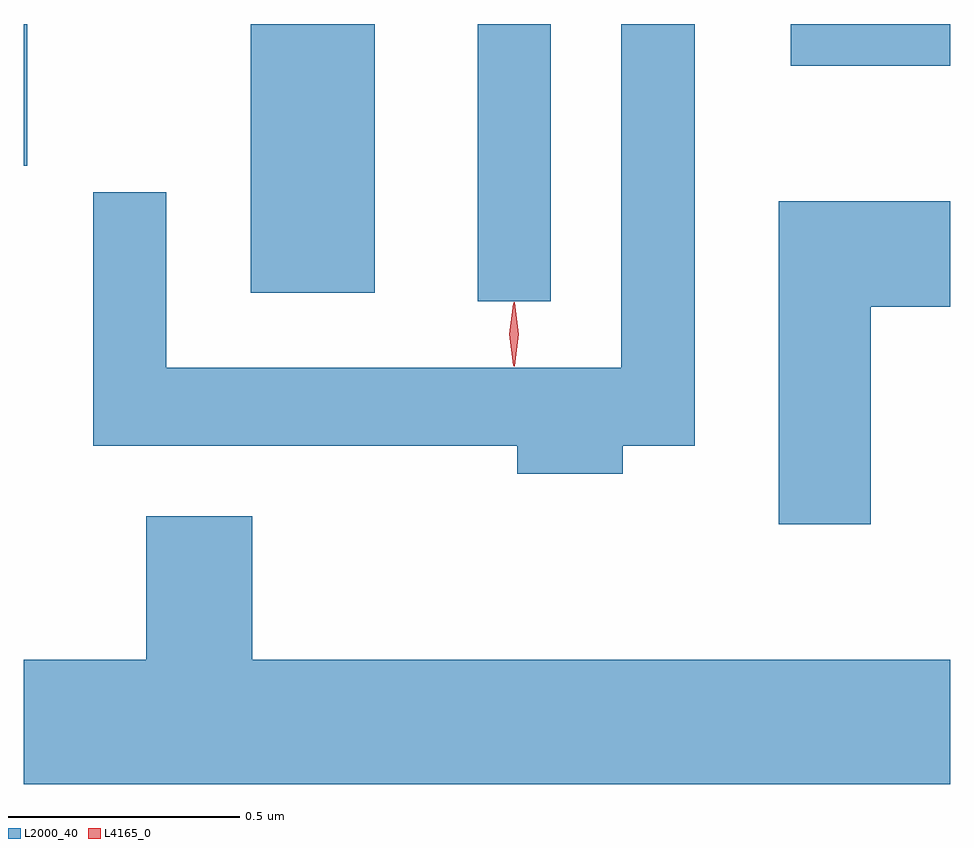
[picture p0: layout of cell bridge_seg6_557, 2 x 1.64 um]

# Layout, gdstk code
import gdstk
lib = gdstk.Library(unit=1e-6, precision=1e-09)
def R(c, l, rs):  # rectangles x0, y0, x1, y1
    for r in rs: c.add(gdstk.rectangle(r[:2], r[2:], *l))
def P(c, l, *ps):  # polygons
    for p in ps: c.add(gdstk.Polygon(p, *l))
L2000_40 = (2000, 40)
L4165_0 = (4165, 0)

bridge_seg6_557 = lib.new_cell('bridge_seg6_557')
R(bridge_seg6_557, L2000_40, [(538.026,1650.978,538.184,1651.576), (537.536,1650.996,537.804,1651.576), (537.046,1651.27,537.054,1651.576), (538.701,1651.486,539.046,1651.576)])
P(bridge_seg6_557, L2000_40, [(538.339,1650.666),(538.494,1650.666),(538.494,1651.576),(538.336,1651.576),(538.336,1650.834),(537.354,1650.834),(537.354,1651.213),(537.196,1651.213),(537.196,1650.666),(538.111,1650.666),(538.111,1650.606),(538.339,1650.606)],
  [(538.874,1650.966),(539.046,1650.966),(539.046,1651.194),(538.676,1651.194),(538.676,1650.496),(538.874,1650.496)],
  [(539.046,1650.204),(537.539,1650.204),(537.539,1650.514),(537.311,1650.514),(537.311,1650.204),(537.046,1650.204),(537.046,1649.936),(539.046,1649.936)])
P(bridge_seg6_557, L4165_0, [(538.104,1650.837),(538.095,1650.906),(538.104,1650.976),(538.105,1650.976),(538.106,1650.976),(538.115,1650.906),(538.106,1650.837),(538.105,1650.837)],
  [(538.104,1650.839),(538.103,1650.84),(538.094,1650.906),(538.103,1650.972),(538.104,1650.973),(538.104,1650.972),(538.114,1650.906),(538.104,1650.84)])

lib.write_gds('bridge_seg6_557.gds')
